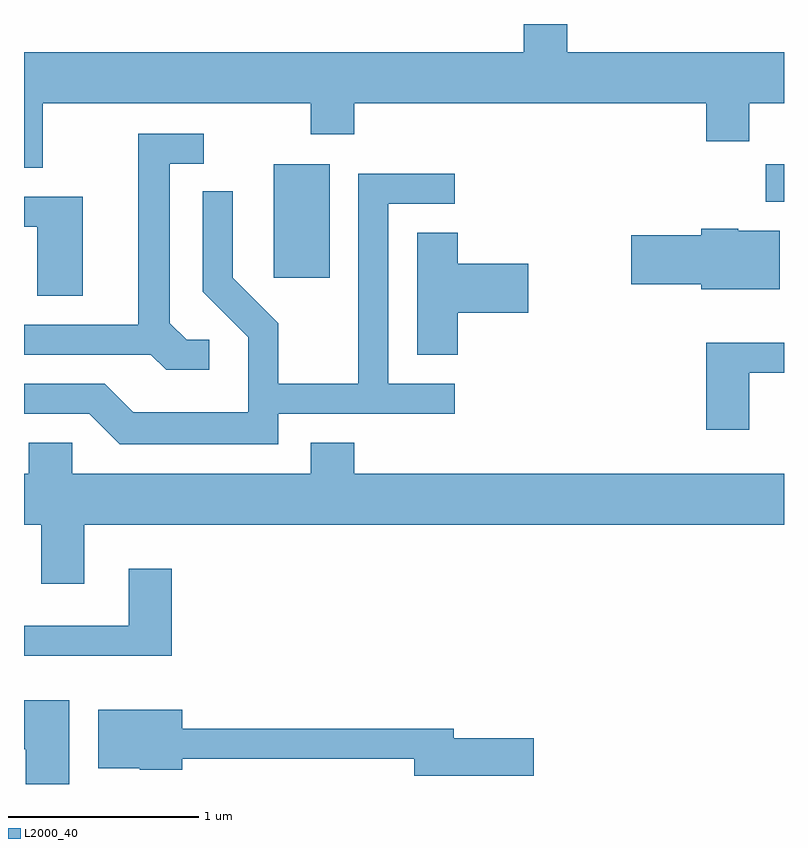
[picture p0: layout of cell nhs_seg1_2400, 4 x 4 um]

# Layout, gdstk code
import gdstk
lib = gdstk.Library(unit=1e-6, precision=1e-09)
def R(c, l, rs):  # rectangles x0, y0, x1, y1
    for r in rs: c.add(gdstk.rectangle(r[:2], r[2:], *l))
def P(c, l, *ps):  # polygons
    for p in ps: c.add(gdstk.Polygon(p, *l))
L2000_40 = (2000, 40)

nhs_seg1_2400 = lib.new_cell('nhs_seg1_2400')
R(nhs_seg1_2400, L2000_40, [(258.926,956.376,259.219,956.974), (261.516,956.776,261.611,956.974)])
P(nhs_seg1_2400, L2000_40, [(257.709,957.296),(259.121,957.296),(259.121,957.131),(259.349,957.131),(259.349,957.296),(261.201,957.296),(261.201,957.096),(261.429,957.096),(261.429,957.296),(261.611,957.296),(261.611,957.564),(260.469,957.564),(260.469,957.712),(260.241,957.712),(260.241,957.564),(257.611,957.564),(257.611,956.956),(257.709,956.956)],
  [(258.587,956.049),(258.467,956.049),(258.379,956.137),(258.379,956.976),(258.558,956.976),(258.558,957.134),(258.211,957.134),(258.211,956.129),(257.611,956.129),(257.611,955.971),(258.279,955.971),(258.359,955.891),(258.587,955.891)],
  [(258.949,955.661),(259.878,955.661),(259.878,955.819),(259.529,955.819),(259.529,956.766),(259.878,956.766),(259.878,956.924),(259.371,956.924),(259.371,955.819),(258.949,955.819),(258.949,956.137),(258.709,956.377),(258.709,956.833),(258.551,956.833),(258.551,956.304),(258.791,956.064),(258.791,955.669),(258.187,955.669),(258.037,955.819),(257.611,955.819),(257.611,955.661),(257.954,955.661),(258.114,955.501),(258.949,955.501)],
  [(257.919,956.804),(257.611,956.804),(257.611,956.646),(257.681,956.646),(257.681,956.281),(257.919,956.281)],
  [(261.589,956.624),(261.37,956.624),(261.37,956.634),(261.176,956.634),(261.176,956.599),(260.806,956.599),(260.806,956.341),(261.176,956.341),(261.176,956.316),(261.589,956.316)],
  [(259.894,956.191),(260.264,956.191),(260.264,956.449),(259.894,956.449),(259.894,956.614),(259.681,956.614),(259.681,955.971),(259.894,955.971)],
  [(261.429,955.876),(261.611,955.876),(261.611,956.034),(261.201,956.034),(261.201,955.576),(261.429,955.576)],
  [(257.929,955.076),(261.611,955.076),(261.611,955.344),(259.349,955.344),(259.349,955.509),(259.121,955.509),(259.121,955.344),(257.864,955.344),(257.864,955.509),(257.636,955.509),(257.636,955.344),(257.611,955.344),(257.611,955.076),(257.701,955.076),(257.701,954.766),(257.929,954.766)],
  [(258.389,954.844),(258.161,954.844),(258.161,954.544),(257.611,954.544),(257.611,954.386),(258.389,954.386)],
  [(257.849,954.154),(257.611,954.154),(257.611,953.896),(257.621,953.896),(257.621,953.712),(257.849,953.712)],
  [(260.294,953.954),(259.874,953.954),(259.874,954.004),(258.444,954.004),(258.444,954.104),(258.001,954.104),(258.001,953.796),(258.22,953.796),(258.22,953.786),(258.444,953.786),(258.444,953.846),(259.666,953.846),(259.666,953.756),(260.294,953.756)])

lib.write_gds('nhs_seg1_2400.gds')
